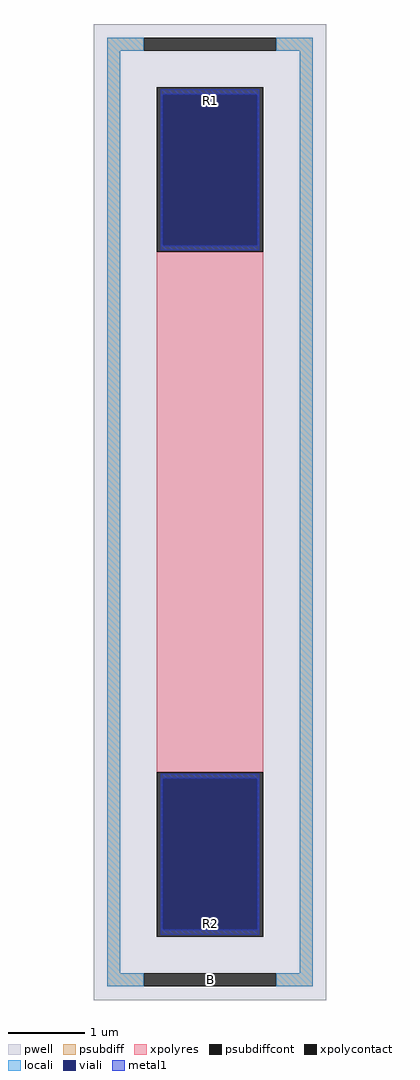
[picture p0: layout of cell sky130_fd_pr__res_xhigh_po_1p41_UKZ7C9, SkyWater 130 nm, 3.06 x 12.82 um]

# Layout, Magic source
magic
tech sky130A
<< pwell >>
rect -153 -641 153 641
<< psubdiff >>
rect -135 606 -87 623
rect 87 606 135 623
rect -135 -606 -118 606
rect 118 -606 135 606
rect -135 -623 -87 -606
rect 87 -623 135 -606
<< psubdiffcont >>
rect -87 606 87 623
rect -87 -623 87 -606
<< xpolycontact >>
rect -70 342 70 558
rect -70 -558 70 -342
<< xpolyres >>
rect -70 -342 70 342
<< locali >>
rect -135 606 -87 623
rect 87 606 135 623
rect -135 -606 -118 606
rect 118 -606 135 606
rect -135 -623 -87 -606
rect 87 -623 135 -606
<< viali >>
rect -62 350 62 549
rect -62 -549 62 -350
<< metal1 >>
rect -65 549 65 555
rect -65 350 -62 549
rect 62 350 65 549
rect -65 344 65 350
rect -65 -350 65 -344
rect -65 -549 -62 -350
rect 62 -549 65 -350
rect -65 -555 65 -549
<< labels >>
rlabel psubdiffcont 0 -614 0 -614 0 B
port 10 nsew
rlabel xpolycontact 0 540 0 540 0 R1
port 11 nsew
rlabel xpolycontact 0 -540 0 -540 0 R2
port 12 nsew
<< properties >>
string FIXED_BBOX -127 -614 127 614
string gencell sky130_fd_pr__res_xhigh_po_1p41
string library sky130
string parameters w 1.410 l 7.0 m 1 nx 1 wmin 1.410 lmin 0.50 class resistor rho 2000 val 10.196k dummy 0 dw 0.0 term 188.2 sterm 0.0 caplen 0 wmax 1.410 guard 1 glc 1 grc 1 gtc 1 gbc 1 compatible {sky130_fd_pr__res_xhigh_po_0p35  sky130_fd_pr__res_xhigh_po_0p69 sky130_fd_pr__res_xhigh_po_1p41  sky130_fd_pr__res_xhigh_po_2p85 sky130_fd_pr__res_xhigh_po_5p73} snake 0 full_metal 1 n_guard 0 hv_guard 0 vias 1 viagb 0 viagt 0 viagl 0 viagr 0 doports 1 mult 1
<< end >>
